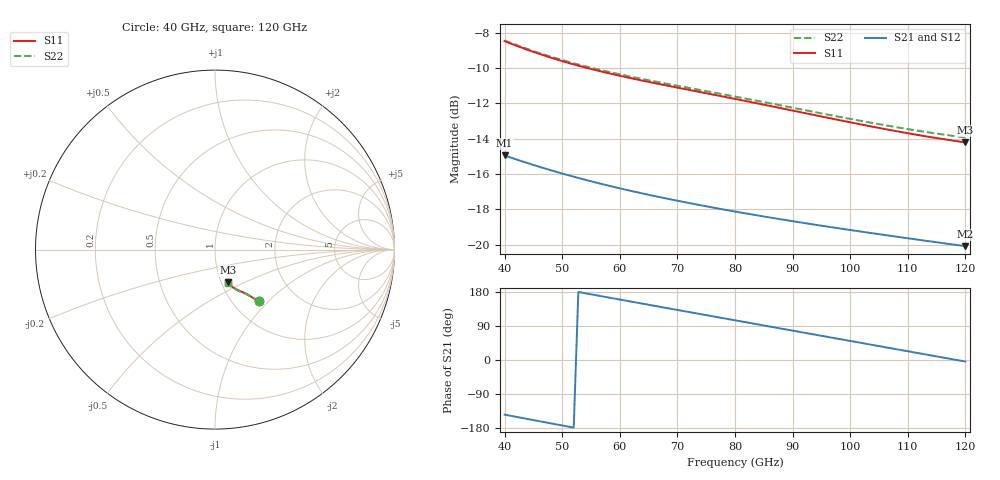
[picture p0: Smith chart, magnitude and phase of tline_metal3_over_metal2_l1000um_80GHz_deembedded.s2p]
! Created with skrf 2.2.0 (http://scikit-rf.org).
# GHz S DB R 50.0
! Port[1] = P1
! Port[2] = P2
!freq dBS11 angS11 dBS21 angS21 dBS12 angS12 dBS22 angS22
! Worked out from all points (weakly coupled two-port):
!   101 points, 40 GHz to 120 GHz, reference 50 ohm
!   highest |S21| = -14.94 dB at 40 GHz (marker M1); lowest = -20.1 dB at 120 GHz (marker M2)
!   lowest |S11| = -14.2 dB at 120 GHz (marker M3), VSWR 1.48, Z = 53.7 - j20.3 ohm
!   |S11| at or under -10 dB: 54.41 GHz to end of sweep
!   |S22| runs from -13.9 to -8.4 dB; largest |S21 - S12| = 2e-14
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40  -8.47 -49.6  -14.94 -144.2  -14.94 -144.2  -8.44 -49.6
43.2  -8.87 -50.7  -15.29 -153.4  -15.29 -153.4  -8.83 -50.6
46.4  -9.24 -51.6  -15.62 -162.6  -15.62 -162.6  -9.19 -51.5
49.6  -9.57 -52.4  -15.93 -171.6  -15.93 -171.6  -9.51 -52.4
53.6  -9.93 -53.3  -16.29 177.2  -16.29 177.2  -9.86 -53.3
56.8  -10.19 -54.1  -16.55 168.3  -16.55 168.3  -10.12 -54.1
60  -10.43 -54.9  -16.80 159.5  -16.80 159.5  -10.35 -54.9
64  -10.71 -55.9  -17.10 148.5  -17.10 148.5  -10.62 -55.9
67.2  -10.93 -56.8  -17.32 139.7  -17.32 139.7  -10.83 -56.8
70.4  -11.13 -57.7  -17.53 131.0  -17.53 131.0  -11.02 -57.7
73.6  -11.33 -58.7  -17.73 122.2  -17.73 122.2  -11.22 -58.7
76.8  -11.54 -59.7  -17.93 113.5  -17.93 113.5  -11.41 -59.7
80  -11.74 -60.6  -18.12 104.8  -18.12 104.8  -11.61 -60.6
83.2  -11.95 -61.6  -18.30 96.0  -18.30 96.0  -11.81 -61.6
86.4  -12.16 -62.5  -18.47 87.3  -18.47 87.3  -12.01 -62.5
89.6  -12.38 -63.4  -18.64 78.6  -18.64 78.6  -12.22 -63.4
93.6  -12.64 -64.4  -18.85 67.7  -18.85 67.7  -12.47 -64.4
100.8  -13.12 -65.9  -19.20 48.1  -19.20 48.1  -12.92 -65.9
107.2  -13.52 -67.0  -19.50 30.7  -19.50 30.7  -13.30 -66.9
110.4  -13.71 -67.5  -19.65 22.0  -19.65 22.0  -13.47 -67.4
113.6  -13.89 -67.9  -19.79 13.3  -19.79 13.3  -13.64 -67.7
120  -14.21 -68.7  -20.08 -4.1  -20.08 -4.1  -13.93 -68.4
